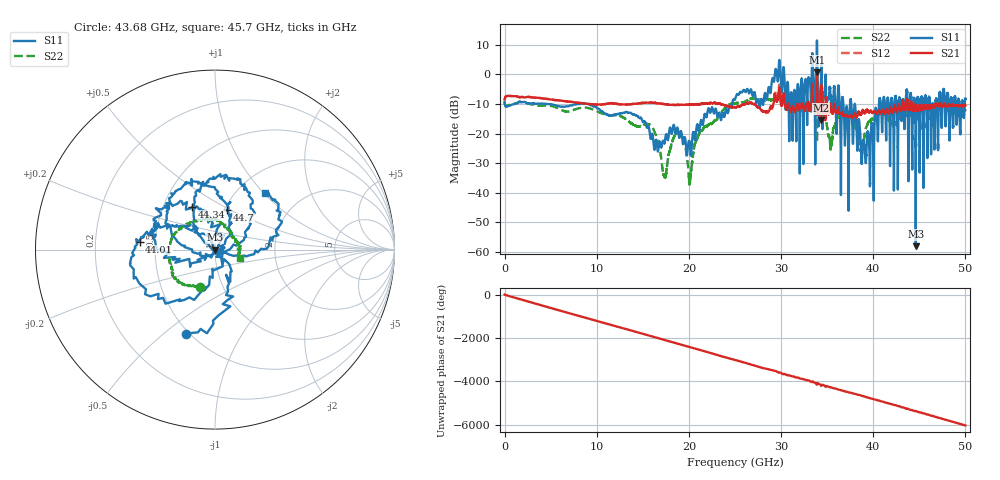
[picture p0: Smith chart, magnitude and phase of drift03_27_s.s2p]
!Created with skrf (http://scikit-rf.org).
# Hz S RI R 50.0
!freq ReS11 ImS11 ReS21 ImS21 ReS12 ImS12 ReS22 ImS22
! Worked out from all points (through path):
!   10001 points, 300 kHz to 50 GHz, reference 50 ohm
!   highest |S21| = 0.58 dB at 33.9 GHz (marker M1); lowest = -15.6 dB at 34.32 GHz (marker M2)
!   group delay of S21, straight-line fit = 335 ps
!   lowest |S11| = -58.0 dB at 44.62 GHz (marker M3), VSWR 1.00, Z = 49.9 - j0.0218 ohm
!   |S11| at or under -10 dB: 4.474 GHz to 7.949 GHz (3.475 GHz wide, 55.9 % of centre); 9.016 GHz to 24.7 GHz (15.68 GHz wide, 93 % of centre); 38.01 GHz to 40.62 GHz (2.616 GHz wide, 6.65 % of centre) (the widest 3 of 66)
!   |S22| runs from -37.3 to -5.9 dB; largest |S21 - S12| = 0.11
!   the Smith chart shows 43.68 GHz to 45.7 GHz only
!   S11 on the Smith chart (normalised r, x): 43.68 GHz: 0.48, -0.60; 44.01 GHz: 0.41, +0.04; 44.34 GHz: 0.70, +0.36; 44.7 GHz: 1.03, +0.49; 45.7 GHz: 1.33, +1.01
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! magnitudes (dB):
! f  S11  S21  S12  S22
! 300 kHz  -9.3  -8.5  -8.5  -9.4
! 8.335 GHz  -9.9  -9.8  -9.8  -11.3
! 16.67 GHz  -25.5  -9.8  -9.8  -23.4
! 17.37 GHz  -23.0  -10.1  -10.1  -34.4
! 19.06 GHz  -20.1  -10.4  -10.4  -20.0
! 20.12 GHz  -24.2  -10.3  -10.3  -36.6
! 21.17 GHz  -18.2  -10.1  -10.1  -19.6
! 25 GHz  -8.6  -11.1  -11.1  -9.8
! 29.66 GHz  -2.4  -8.3  -8.4  -7.2
! 31.08 GHz  -6.1  -12.7  -12.7  -10.5
! 33.34 GHz  0.3  -7.5  -7.6  -9.4
! 33.9 GHz  11.4  0.6  0.1  -23.0
! 34.32 GHz  -2.9  -15.6  -15.0  -11.3
! 38.97 GHz  -23.2  -12.5  -12.6  -23.1
! 41.67 GHz  -9.6  -13.3  -13.3  -15.4
! 43.68 GHz  -6.0  -8.9  -8.7  -13.0
! 44.01 GHz  -7.5  -10.9  -11.1  -11.2
! 44.34 GHz  -11.4  -12.3  -12.4  -11.7
! 44.62 GHz  -58.0  -10.9  -10.9  -12.8
! 44.7 GHz  -12.6  -11.8  -11.8  -13.3
! 45.7 GHz  -7.6  -11.6  -11.6  -16.7
! 50 GHz  -8.1  -10.5  -10.6  -12.2
